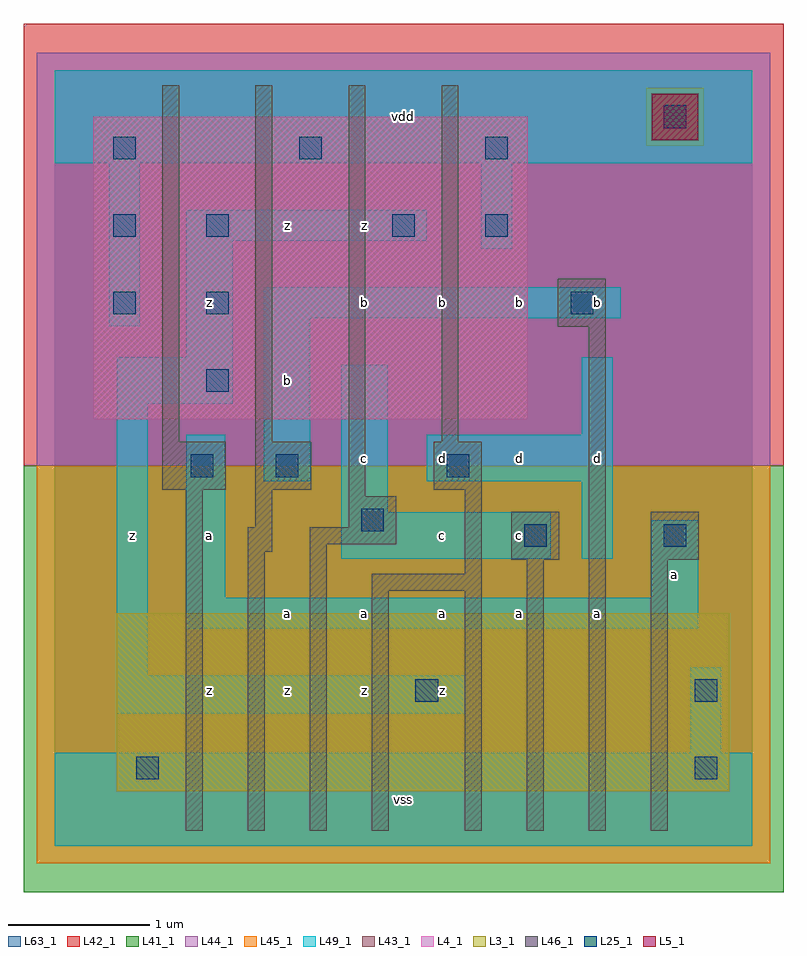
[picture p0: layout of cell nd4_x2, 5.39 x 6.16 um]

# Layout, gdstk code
import gdstk
lib = gdstk.Library(unit=1e-6, precision=1e-09)
def R(c, l, rs):  # rectangles x0, y0, x1, y1
    for r in rs: c.add(gdstk.rectangle(r[:2], r[2:], *l))
def A(c, l, x, y, w, h, nx, ny, dx, dy):  # array of equal rectangles
    R(c, l, [(x+i*dx, y+j*dy, x+i*dx+w, y+j*dy+h) for i in range(nx) for j in range(ny)])
L3_1 = (3, 1)
L4_1 = (4, 1)
L5_1 = (5, 1)
L25_1 = (25, 1)
L41_1 = (41, 1)
L42_1 = (42, 1)
L43_1 = (43, 1)
L44_1 = (44, 1)
L45_1 = (45, 1)
L46_1 = (46, 1)
L49_1 = (49, 1)
L63_1 = (63, 1)

nd4_x2 = lib.new_cell('nd4_x2')
R(nd4_x2, L3_1, [(0.44,0.385,4.785,1.65)])
R(nd4_x2, L4_1, [(0.275,3.025,3.355,5.17)])
R(nd4_x2, L5_1, [(4.235,5.005,4.565,5.335)])
A(nd4_x2, L25_1, 1.075, 3.22, 0.16, 0.16, 1, 3, 0, 0.55)
A(nd4_x2, L25_1, 0.415, 4.87, 0.16, 0.16, 3, 1, 1.32, 0)
R(nd4_x2, L25_1, [(0.58,0.47,0.74,0.63), (4.54,0.47,4.7,0.63), (2.56,1.02,2.72,1.18), (4.54,1.02,4.7,1.18), (3.33,2.12,3.49,2.28), (4.32,2.12,4.48,2.28), (2.175,2.23,2.335,2.39), (0.965,2.615,1.125,2.775), (1.57,2.615,1.73,2.775), (2.78,2.615,2.94,2.775), (0.415,3.77,0.575,3.93), (3.66,3.77,3.82,3.93), (0.415,4.32,0.575,4.48), (2.395,4.32,2.555,4.48), (3.055,4.32,3.215,4.48), (4.32,5.09,4.48,5.25)])
R(nd4_x2, L41_1, [(-0.22,-0.33,5.17,2.695)])
R(nd4_x2, L42_1, [(-0.22,2.695,5.17,5.83)])
R(nd4_x2, L43_1, [(0.44,0.385,4.785,1.65), (0.275,3.025,3.355,5.17), (4.235,5.005,4.565,5.335)])
R(nd4_x2, L44_1, [(-0.125,2.695,5.075,4.965), (-0.125,4.965,4.195,5.375), (4.605,4.965,5.075,5.375), (-0.125,5.375,5.075,5.625)])
R(nd4_x2, L45_1, [(-0.125,-0.125,5.075,2.695), (4.195,4.965,4.605,5.375)])
R(nd4_x2, L46_1, [(0.93,0.105,1.05,2.525), (1.37,0.105,1.49,2.085), (1.81,0.105,1.93,2.14), (2.25,0.105,2.37,1.81), (2.91,0.105,3.03,1.81), (3.35,0.105,3.47,2.03), (3.79,0.105,3.91,3.68), (4.23,0.105,4.35,2.03), (2.25,1.81,3.03,1.93), (2.91,1.93,3.03,2.525), (3.24,2.03,3.58,2.37), (4.23,2.03,4.57,2.37), (1.37,2.085,1.545,2.26), (1.81,2.14,2.425,2.26), (1.425,2.26,1.545,2.525), (2.085,2.26,2.425,2.48), (2.085,2.48,2.205,5.395), (0.765,2.525,1.215,2.865), (1.425,2.525,1.82,2.865), (2.69,2.525,3.03,2.865), (0.765,2.865,0.885,5.395), (1.425,2.865,1.545,5.395), (2.745,2.865,2.865,5.395), (3.57,3.68,3.91,4.02)])
R(nd4_x2, L49_1, [(0,0,4.95,0.66), (4.51,0.66,4.73,1.265), (0.44,0.935,2.915,1.21), (0.44,1.21,0.66,3.135), (0.935,1.54,4.565,1.76), (0.935,1.76,1.21,2.915), (4.235,1.76,4.565,2.31), (2.035,2.035,3.52,2.365), (3.74,2.035,3.96,2.585), (2.035,2.365,2.365,3.41), (1.485,2.585,1.815,3.74), (2.64,2.585,3.96,2.915), (3.74,2.915,3.96,3.465), (0.44,3.135,1.265,3.465), (0.935,3.465,1.265,4.29), (0.385,3.685,0.605,4.84), (1.485,3.74,4.015,3.96), (3.025,4.235,3.245,4.84), (0.935,4.29,2.64,4.51), (0,4.84,4.95,5.5)])
R(nd4_x2, L63_1, [(0,0,4.95,5.5)])
nd4_x2.add(gdstk.Label('z', (0.55,2.2), layer=49, texttype=1))
nd4_x2.add(gdstk.Label('z', (0.55,2.2), layer=49, texttype=1))
nd4_x2.add(gdstk.Label('z', (1.65,1.1), layer=49, texttype=1))
nd4_x2.add(gdstk.Label('z', (1.65,1.1), layer=49, texttype=1))
nd4_x2.add(gdstk.Label('z', (1.1,1.1), layer=49, texttype=1))
nd4_x2.add(gdstk.Label('z', (1.1,1.1), layer=49, texttype=1))
nd4_x2.add(gdstk.Label('a', (1.65,1.65), layer=49, texttype=1))
nd4_x2.add(gdstk.Label('a', (1.65,1.65), layer=49, texttype=1))
nd4_x2.add(gdstk.Label('a', (1.1,2.2), layer=49, texttype=1))
nd4_x2.add(gdstk.Label('a', (1.1,2.2), layer=49, texttype=1))
nd4_x2.add(gdstk.Label('b', (1.65,3.3), layer=49, texttype=1))
nd4_x2.add(gdstk.Label('b', (1.65,3.3), layer=49, texttype=1))
nd4_x2.add(gdstk.Label('z', (1.1,3.85), layer=49, texttype=1))
nd4_x2.add(gdstk.Label('z', (1.1,3.85), layer=49, texttype=1))
nd4_x2.add(gdstk.Label('z', (1.65,4.4), layer=49, texttype=1))
nd4_x2.add(gdstk.Label('z', (1.65,4.4), layer=49, texttype=1))
nd4_x2.add(gdstk.Label('vss', (2.475,0.33), layer=49, texttype=1))
nd4_x2.add(gdstk.Label('vss', (2.475,0.33), layer=49, texttype=1))
nd4_x2.add(gdstk.Label('z', (2.2,1.1), layer=49, texttype=1))
nd4_x2.add(gdstk.Label('z', (2.75,1.1), layer=49, texttype=1))
nd4_x2.add(gdstk.Label('z', (2.2,1.1), layer=49, texttype=1))
nd4_x2.add(gdstk.Label('z', (2.75,1.1), layer=49, texttype=1))
nd4_x2.add(gdstk.Label('a', (2.75,1.65), layer=49, texttype=1))
nd4_x2.add(gdstk.Label('a', (2.2,1.65), layer=49, texttype=1))
nd4_x2.add(gdstk.Label('a', (2.2,1.65), layer=49, texttype=1))
nd4_x2.add(gdstk.Label('a', (2.75,1.65), layer=49, texttype=1))
nd4_x2.add(gdstk.Label('c', (2.75,2.2), layer=49, texttype=1))
nd4_x2.add(gdstk.Label('c', (2.75,2.2), layer=49, texttype=1))
nd4_x2.add(gdstk.Label('d', (2.75,2.75), layer=49, texttype=1))
nd4_x2.add(gdstk.Label('c', (2.2,2.75), layer=49, texttype=1))
nd4_x2.add(gdstk.Label('c', (2.2,2.75), layer=49, texttype=1))
nd4_x2.add(gdstk.Label('d', (2.75,2.75), layer=49, texttype=1))
nd4_x2.add(gdstk.Label('b', (2.75,3.85), layer=49, texttype=1))
nd4_x2.add(gdstk.Label('b', (2.2,3.85), layer=49, texttype=1))
nd4_x2.add(gdstk.Label('b', (2.75,3.85), layer=49, texttype=1))
nd4_x2.add(gdstk.Label('b', (2.2,3.85), layer=49, texttype=1))
nd4_x2.add(gdstk.Label('z', (2.2,4.4), layer=49, texttype=1))
nd4_x2.add(gdstk.Label('z', (2.2,4.4), layer=49, texttype=1))
nd4_x2.add(gdstk.Label('vdd', (2.475,5.17), layer=49, texttype=1))
nd4_x2.add(gdstk.Label('vdd', (2.475,5.17), layer=49, texttype=1))
nd4_x2.add(gdstk.Label('a', (3.85,1.65), layer=49, texttype=1))
nd4_x2.add(gdstk.Label('a', (3.3,1.65), layer=49, texttype=1))
nd4_x2.add(gdstk.Label('a', (3.3,1.65), layer=49, texttype=1))
nd4_x2.add(gdstk.Label('a', (3.85,1.65), layer=49, texttype=1))
nd4_x2.add(gdstk.Label('c', (3.3,2.2), layer=49, texttype=1))
nd4_x2.add(gdstk.Label('c', (3.3,2.2), layer=49, texttype=1))
nd4_x2.add(gdstk.Label('d', (3.85,2.75), layer=49, texttype=1))
nd4_x2.add(gdstk.Label('d', (3.3,2.75), layer=49, texttype=1))
nd4_x2.add(gdstk.Label('d', (3.85,2.75), layer=49, texttype=1))
nd4_x2.add(gdstk.Label('d', (3.3,2.75), layer=49, texttype=1))
nd4_x2.add(gdstk.Label('b', (3.85,3.85), layer=49, texttype=1))
nd4_x2.add(gdstk.Label('b', (3.3,3.85), layer=49, texttype=1))
nd4_x2.add(gdstk.Label('b', (3.85,3.85), layer=49, texttype=1))
nd4_x2.add(gdstk.Label('b', (3.3,3.85), layer=49, texttype=1))
nd4_x2.add(gdstk.Label('a', (4.4,1.925), layer=49, texttype=1))
nd4_x2.add(gdstk.Label('a', (4.4,1.925), layer=49, texttype=1))

lib.write_gds('nd4_x2.gds')
